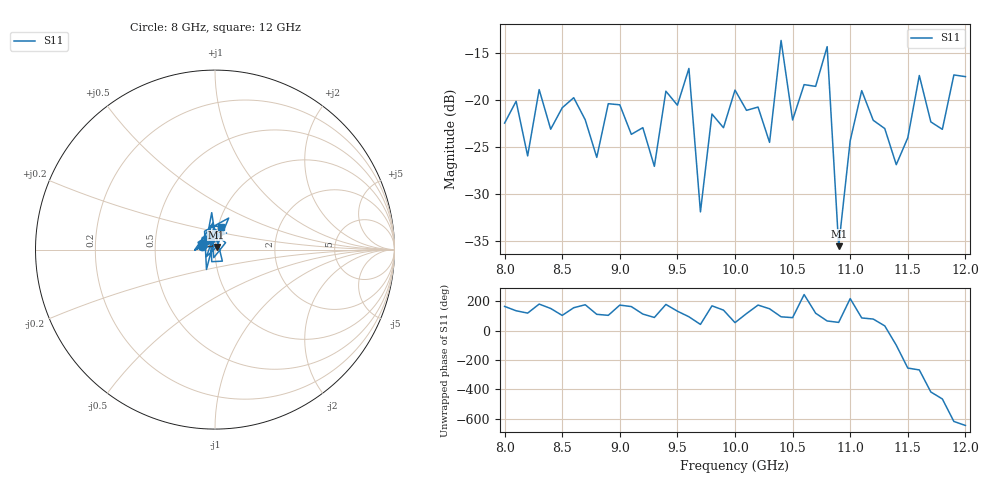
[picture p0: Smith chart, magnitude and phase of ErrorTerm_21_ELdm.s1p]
!  1-Port S-parameters saved by WinCal
! VAR NAME=2-Port SOLT labuser 6
! VAR Error Term Name=ELdm phys rcv port 2 phys src port 1
# Hz S RI R 50
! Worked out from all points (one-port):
!   41 points, 8 GHz to 12 GHz, reference 50 ohm
!   lowest |S11| = -35.6 dB at 10.9 GHz (marker M1), VSWR 1.03, Z = 50.9 + j1.42 ohm
!   |S11| at or under -10 dB: start of sweep to end of sweep
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8e9  -0.0729 0.0182
8.1e9  -0.0708 0.068
8.2e9  -0.0253 0.0435
8.3e9  -0.1131 -0.00368
8.4e9  -0.0615 0.033
8.5e9  -0.0227 0.0878
8.8e9  -0.0184 0.0459
9e9  -0.0936 0.00838
9.3e9  -0.000354 0.0443
9.4e9  -0.111 0.00126
9.5e9  -0.0643 0.068
9.6e9  -0.0133 0.1461
9.7e9  0.0186 0.0173
9.8e9  -0.0827 0.0147
1e10  0.0642 0.0924
1.03e10  -0.0513 0.03
1.04e10  -0.0182 0.2057
1.05e10  0.000943 0.0781
1.06e10  -0.0474 -0.1106
1.08e10  0.0762 0.1756
1.09e10  0.0091 0.014
1.1e10  -0.0471 -0.0382
1.11e10  0.00527 0.1117
1.14e10  -0.00669 -0.0447
1.15e10  -0.0167 0.0605
1.16e10  -0.00661 0.1343
1.18e10  -0.0181 -0.0673
1.2e10  0.036 0.1277
